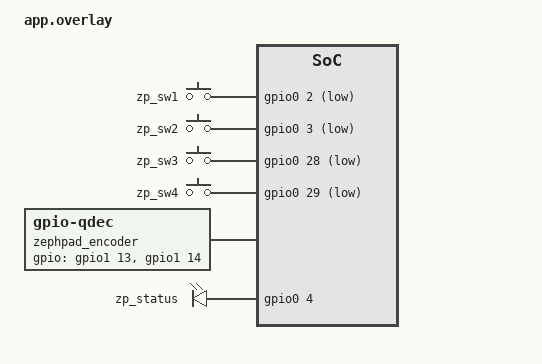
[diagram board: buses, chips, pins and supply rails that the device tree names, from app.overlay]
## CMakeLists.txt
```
cmake_minimum_required(VERSION 3.20.0)
find_package(Zephyr REQUIRED HINTS $ENV{ZEPHYR_BASE})
project(zephpad)
target_sources(app PRIVATE src/main.c src/ble_hid.c src/power_policy.c)
```

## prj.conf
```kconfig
CONFIG_GPIO=y
CONFIG_INPUT=y
CONFIG_INPUT_MODE_SYNCHRONOUS=y
CONFIG_INPUT_GPIO_KEYS=y
CONFIG_INPUT_GPIO_QDEC=y

CONFIG_BT=y
CONFIG_BT_PERIPHERAL=y
CONFIG_BT_SMP=y
CONFIG_BT_BONDABLE=y
CONFIG_BT_MAX_CONN=1
CONFIG_BT_MAX_PAIRED=1
CONFIG_BT_DEVICE_NAME="Zephpad BLE"
CONFIG_BT_DEVICE_APPEARANCE=961
CONFIG_BT_SETTINGS=y
CONFIG_SETTINGS=y
CONFIG_FLASH=y
CONFIG_FLASH_MAP=y
CONFIG_NVS=y
CONFIG_SETTINGS_NVS=y

CONFIG_MAIN_STACK_SIZE=2048
CONFIG_SYSTEM_WORKQUEUE_STACK_SIZE=2048
CONFIG_BUILD_OUTPUT_UF2=y
CONFIG_USE_DT_CODE_PARTITION=y

# This revision uses the external LED for status, not USB serial logging.
CONFIG_CONSOLE=n
CONFIG_UART_CONSOLE=n
CONFIG_SERIAL=n
CONFIG_LOG=n
CONFIG_PRINTK=n

# Device suspension is invoked only immediately before System OFF.
CONFIG_POWEROFF=y
CONFIG_PM_DEVICE=y
```

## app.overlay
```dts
#include <zephyr/dt-bindings/gpio/gpio.h>
#include <zephyr/dt-bindings/input/input-event-codes.h>

/ {
    zephpad_keys: zephpad_keys {
        compatible = "gpio-keys";
        debounce-interval-ms = <15>;
        zp_sw1: sw1 {
            gpios = <&gpio0 2 (GPIO_PULL_UP | GPIO_ACTIVE_LOW)>;
            zephyr,code = <INPUT_KEY_F1>;
        };
        zp_sw2: sw2 {
            gpios = <&gpio0 3 (GPIO_PULL_UP | GPIO_ACTIVE_LOW)>;
            zephyr,code = <INPUT_KEY_F2>;
        };
        zp_sw3: sw3 {
            gpios = <&gpio0 28 (GPIO_PULL_UP | GPIO_ACTIVE_LOW)>;
            zephyr,code = <INPUT_KEY_F3>;
        };
        zp_sw4: sw4 {
            gpios = <&gpio0 29 (GPIO_PULL_UP | GPIO_ACTIVE_LOW)>;
            zephyr,code = <INPUT_KEY_F4>;
        };
    };
    zephpad_encoder: zephpad_encoder {
        compatible = "gpio-qdec";
        gpios = <&gpio1 13 (GPIO_PULL_UP | GPIO_ACTIVE_HIGH)>,
                <&gpio1 14 (GPIO_PULL_UP | GPIO_ACTIVE_HIGH)>;
        /* EC12E24404A6: 24 detents / 24 pulses -> four AB edges per detent. */
        steps-per-period = <4>;
        zephyr,axis = <INPUT_REL_WHEEL>;
        sample-time-us = <1000>;
        idle-timeout-ms = <100>;
    };
    zephpad_leds {
        compatible = "gpio-leds";
        zp_status: status_led {
            gpios = <&gpio0 4 GPIO_ACTIVE_HIGH>;
        };
    };
};

/* SPI2 shares D8/D9 with the encoder. */
&spi2 { status = "disabled"; };
&uart0 { status = "disabled"; };
&i2c1 { status = "disabled"; };
&pwm0 { status = "disabled"; };
```

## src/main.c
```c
#include <zephyr/kernel.h>
#include <zephyr/drivers/gpio.h>
#include <zephyr/input/input.h>
#include <zephyr/bluetooth/bluetooth.h>
#include <zephyr/bluetooth/conn.h>
#include <zephyr/bluetooth/uuid.h>
#include <zephyr/settings/settings.h>
#include <zephyr/sys/atomic.h>
#include <zephyr/pm/device.h>
#include <zephyr/sys/poweroff.h>
#include <errno.h>
#include "app_config.h"
#include "power_policy.h"
#include "ble_hid.h"

/* ピン番号はapp.overlayに集約。配列の順番はSW1～SW4です。 */
static const struct gpio_dt_spec keys[] = {
    GPIO_DT_SPEC_GET(DT_NODELABEL(zp_sw1), gpios),
    GPIO_DT_SPEC_GET(DT_NODELABEL(zp_sw2), gpios),
    GPIO_DT_SPEC_GET(DT_NODELABEL(zp_sw3), gpios),
    GPIO_DT_SPEC_GET(DT_NODELABEL(zp_sw4), gpios),
};
static const struct gpio_dt_spec led = GPIO_DT_SPEC_GET(DT_NODELABEL(zp_status), gpios);
static atomic_t linked, encrypted, accepting, dictation_gate, overflow;
static atomic_t shutting_down, activity_generation;

static void mark_activity(void)
{
    /* コールバックは操作回数だけ更新。時刻の計算はmainだけで行います。 */
    atomic_inc(&activity_generation);
}
/* 入力コールバックからmainへ、操作を順番に渡すキューです。 */
K_MSGQ_DEFINE(events, sizeof(struct input_event), 32, 4);

static bool ready(void)
{
    /* BLE接続だけでなく、暗号化とPC側のHID通知登録も必要です。 */
    return atomic_get(&linked) && atomic_get(&encrypted) && ble_hid_subscribed();
}

/* mainだけから呼びます。通常のキー操作では点灯時間を延長しません。
 * readyがfalseに戻ると待機点滅へ移り、再接続時は再び3秒点灯します。 */
static void update_status_led(bool can_send, int64_t now_ms)
{
    static bool was_ready;
    static int64_t ready_since_ms;
    bool on;

    if (can_send) {
        if (!was_ready) {
            ready_since_ms = now_ms;
        }
        on = now_ms - ready_since_ms < ZEPHPAD_CONNECTED_LED_MS;
    } else {
        on = (now_ms / ZEPHPAD_WAIT_LED_HALF_PERIOD_MS) % 2 == 0;
    }
    was_ready = can_send;
    gpio_pin_set_dt(&led, on);
}

static void input_cb(struct input_event *evt, void *user_data)
{
    ARG_UNUSED(user_data);
    if (evt->type == INPUT_EV_KEY || evt->type == INPUT_EV_REL) {
        mark_activity();
    }
    if (!atomic_get(&accepting)) { return; }
    bool voice = evt->type == INPUT_EV_KEY && evt->code == INPUT_KEY_F3;
    if (voice) {
        atomic_set(&dictation_gate, !!evt->value);
    } else if (atomic_get(&dictation_gate)) {
        return; /* Discard; never replay other input after dictation. */
    }
    if (k_msgq_put(&events, evt, K_NO_WAIT)) { atomic_set(&overflow, 1); }
}
INPUT_CALLBACK_DEFINE(NULL, input_cb, NULL);

static const struct bt_data ad[] = {
    BT_DATA_BYTES(BT_DATA_FLAGS, BT_LE_AD_GENERAL | BT_LE_AD_NO_BREDR),
    BT_DATA_BYTES(BT_DATA_UUID16_ALL, BT_UUID_16_ENCODE(BT_UUID_HIDS_VAL)),
    BT_DATA_BYTES(BT_DATA_GAP_APPEARANCE, 0xc1, 0x03),
};
static const struct bt_data sd[] = {
    BT_DATA(BT_DATA_NAME_COMPLETE, CONFIG_BT_DEVICE_NAME, sizeof(CONFIG_BT_DEVICE_NAME)-1),
};
static void advertise(struct k_work *work);
K_WORK_DELAYABLE_DEFINE(adv_work, advertise);
static void advertise(struct k_work *work)
{
    ARG_UNUSED(work);
    if (atomic_get(&linked) || atomic_get(&shutting_down)) { return; }
    int err = bt_le_adv_start(BT_LE_ADV_CONN_FAST_1, ad, ARRAY_SIZE(ad), sd, ARRAY_SIZE(sd));
    if (err && err != -EALREADY && !atomic_get(&shutting_down)) {
        k_work_reschedule(&adv_work, K_MSEC(500));
    }
}
static void connected(struct bt_conn *conn, uint8_t err)
{
    if (err) {
        if (!atomic_get(&shutting_down)) { k_work_reschedule(&adv_work, K_MSEC(500)); }
        return;
    }
    mark_activity();
    atomic_set(&linked, 1);
    atomic_clear(&encrypted);
    if (atomic_get(&shutting_down)) { bt_conn_disconnect(conn, 0x13); return; }
    int ret = bt_conn_set_security(conn, BT_SECURITY_L2);
    if (ret) { bt_conn_disconnect(conn, 0x13); }
}
static void disconnected(struct bt_conn *conn, uint8_t reason)
{
    ARG_UNUSED(conn); ARG_UNUSED(reason);
    atomic_clear(&accepting);
    atomic_clear(&linked);
    atomic_clear(&encrypted);
    ble_hid_disconnected();
    mark_activity();
    if (!atomic_get(&shutting_down)) { k_work_reschedule(&adv_work, K_MSEC(300)); }
}
static void security_changed(struct bt_conn *conn, bt_security_t level,
                             enum bt_security_err err)
{
    atomic_set(&encrypted, !err && level >= BT_SECURITY_L2);
    mark_activity();
    if (err) { bt_conn_disconnect(conn, 0x13); }
}
BT_CONN_CB_DEFINE(conn_callbacks) = {
    .connected = connected,
    .disconnected = disconnected,
    .security_changed = security_changed,
};

static void fatal(void)
{
    for (;;) {
        gpio_pin_toggle_dt(&led);
        k_sleep(K_MSEC(80));
    }
}
static bool all_released(void)
{
    for (size_t i=0; i<ARRAY_SIZE(keys); i++) {
        if (gpio_pin_get_dt(&keys[i]) != 0) { return false; }
    }
    return true;
}
static int send_retry(uint8_t mod, uint8_t key)
{
    for (int i=0; i<20 && ready(); i++) {
        int err = ble_hid_send(mod, key);
        if (!err) { return 0; }
        k_sleep(K_MSEC(10));
    }
    return -EIO;
}
static int tap(uint8_t mod, uint8_t key)
{
    int err = send_retry(mod, key);
    if (!err) { k_sleep(K_MSEC(ZEPHPAD_TAP_MS)); }
    int release_err = send_retry(0, 0);
    k_sleep(K_MSEC(ZEPHPAD_TAP_MS));
    return err ? err : release_err;
}
static void input_reset(void)
{
    atomic_clear(&accepting);
    k_msgq_purge(&events);
    atomic_clear(&dictation_gate);
    atomic_clear(&overflow);
}
/* Errors during shutdown remain awake and blink N times, then pause.
 * A failed shutdown must not be mistaken for successful System OFF. */
static void power_error(unsigned int count)
{
    for (;;) {
        for (unsigned int i = 0; i < count; i++) {
            gpio_pin_set_dt(&led, 1); k_sleep(K_MSEC(150));
            gpio_pin_set_dt(&led, 0); k_sleep(K_MSEC(150));
        }
        k_sleep(K_MSEC(1200));
    }
}

static void disconnect_one(struct bt_conn *conn, void *data)
{
    ARG_UNUSED(data);
    bt_conn_disconnect(conn, 0x13); /* Remote User Terminated Connection */
}

static bool suspend_ok(const struct device *dev)
{
    int err = pm_device_action_run(dev, PM_DEVICE_ACTION_SUSPEND);
    return err == 0 || err == -EALREADY;
}

/* Returns only when shutdown was cancelled; leave queued input intact. */
static void enter_system_off(const struct zp_power_sample *sample)
{
    if (!all_released()) { return; }
    k_sleep(K_MSEC(50));
    if (!all_released() || k_msgq_num_used_get(&events) != 0 ||
        sample->generation != (uint32_t)atomic_get(&activity_generation) ||
        sample->linked != (atomic_get(&linked) != 0) ||
        sample->ready != ready()) {
        return;
    }
    atomic_set(&shutting_down, 1);
    input_reset();

    if (ready()) {
        (void)send_retry(0, 0);
        k_sleep(K_MSEC(40));
    }
    struct k_work_sync sync;
    k_work_cancel_delayable_sync(&adv_work, &sync);
    (void)bt_le_adv_stop();
    bt_conn_foreach(BT_CONN_TYPE_LE, disconnect_one, NULL);
    int64_t deadline = k_uptime_get() + 1500;
    while (atomic_get(&linked) && k_uptime_get() < deadline) {
        k_sleep(K_MSEC(10));
    }
    if (atomic_get(&linked)) { power_error(1); }

    /* Stop radio/host without erasing persistent bonds. */
    int err = bt_disable();
    if (err && err != -EALREADY) { power_error(2); }
    if (!suspend_ok(DEVICE_DT_GET(DT_NODELABEL(zephpad_encoder)))) { power_error(3); }
    if (!suspend_ok(DEVICE_DT_GET(DT_NODELABEL(zephpad_keys)))) { power_error(4); }

    /* QDEC suspend may preserve DT pullups. Remove them explicitly: a
     * stationary encoder contact must not draw current through a pullup. */
    const struct gpio_dt_spec encoder_pins[] = {
        GPIO_DT_SPEC_GET_BY_IDX(DT_NODELABEL(zephpad_encoder), gpios, 0),
        GPIO_DT_SPEC_GET_BY_IDX(DT_NODELABEL(zephpad_encoder), gpios, 1),
    };
    for (size_t i = 0; i < ARRAY_SIZE(encoder_pins); i++) {
        const struct gpio_dt_spec *p = &encoder_pins[i];
        if (gpio_pin_interrupt_configure_dt(p, GPIO_INT_DISABLE) ||
            gpio_pin_configure(p->port, p->pin, GPIO_DISCONNECTED)) { power_error(5); }
    }
    for (size_t i = 0; i < ARRAY_SIZE(keys); i++) {
        if (gpio_pin_interrupt_configure_dt(&keys[i], GPIO_INT_DISABLE) ||
            gpio_pin_configure(keys[i].port, keys[i].pin, GPIO_DISCONNECTED)) {
            power_error(5);
        }
    }

    /* XIAO's external QSPI flash has a deep-power-down-capable driver.
     * The standard board stores BLE settings in INTERNAL storage_partition. */
#if DT_NODE_HAS_STATUS(DT_NODELABEL(p25q16h), okay) && defined(CONFIG_NORDIC_QSPI_NOR)
    const struct device *ext_flash = DEVICE_DT_GET(DT_NODELABEL(p25q16h));
    if (!device_is_ready(ext_flash) || !suspend_ok(ext_flash)) { power_error(6); }
#endif

    gpio_pin_set_dt(&led, 0);
    /* Only SW4 (D3/P0.29, active low with pullup) is armed as GPIO wake. */
    if (gpio_pin_configure_dt(&keys[3], GPIO_INPUT) ||
        gpio_pin_interrupt_configure_dt(&keys[3], GPIO_INT_LEVEL_ACTIVE)) {
        power_error(7);
    }
    /* A new SW4 press here can cause immediate reset/wake, which is correct. */
    sys_poweroff();
}

static int handle_event(const struct input_event *e)
{
    /* HID modifiers: left Ctrl=1, Shift=2, Alt=4; Meh=7. */
    if (e->type == INPUT_EV_KEY) {
        if (e->code == INPUT_KEY_F3) {
            return e->value ? send_retry(0x07, 0x07) : send_retry(0, 0);
        }
        if (!e->value) { return 0; }
        switch (e->code) {
        case INPUT_KEY_F1: return tap(0, 0x29);    /* Esc */
        case INPUT_KEY_F2: return tap(1, 0x11);    /* Ctrl+N */
        case INPUT_KEY_F4: return tap(0, 0x28);    /* Enter */
        default: break;
        }
    } else if (e->type == INPUT_EV_REL && e->code == INPUT_REL_WHEEL) {
        int count = CLAMP(e->value * ZEPHPAD_ENCODER_SIGN, -16, 16);
        uint8_t key = count > 0 ? 0x52 : 0x51; /* up / down */
        if (count < 0) { count = -count; }
        for (int i=0; i<count; i++) {
            if (atomic_get(&dictation_gate)) { break; }
            int err = tap(7, key);
            if (err) { return err; }
        }
    }
    return 0;
}

int main(void)
{
    if (!gpio_is_ready_dt(&led)) { return 0; }
    if (gpio_pin_configure_dt(&led, GPIO_OUTPUT_INACTIVE)) { return 0; }
    if (!device_is_ready(DEVICE_DT_GET(DT_NODELABEL(zephpad_keys))) ||
        !device_is_ready(DEVICE_DT_GET(DT_NODELABEL(zephpad_encoder)))) { fatal(); }

    /* Explicit local recovery: SW1+SW2 held through reset for 2 seconds. */
    bool erase_bonds = gpio_pin_get_dt(&keys[0]) == 1 && gpio_pin_get_dt(&keys[1]) == 1;
    if (erase_bonds) {
        for (int i=0; i<100; i++) {
            if (gpio_pin_get_dt(&keys[0]) != 1 || gpio_pin_get_dt(&keys[1]) != 1) {
                erase_bonds = false; break;
            }
            gpio_pin_toggle_dt(&led);
            k_sleep(K_MSEC(20));
        }
    }
    if (bt_enable(NULL)) { fatal(); }
    if (settings_load()) { fatal(); }
    if (erase_bonds && bt_unpair(BT_ID_DEFAULT, BT_ADDR_LE_ANY)) { fatal(); }
    k_work_reschedule(&adv_work, K_NO_WAIT);

    struct zp_power_policy power = {0};
    bool armed = false;
    int64_t released_since = 0;
    for (;;) {
        bool can_send = ready();
        update_status_led(can_send, k_uptime_get());
        if (!can_send || atomic_get(&overflow)) {
            input_reset();
            armed = false;
            released_since = 0;
        }
        if (!armed && can_send) {
            /* Startup/reconnect: all keys must be released for 50 ms. */
            if (!all_released()) {
                released_since = 0;
            } else if (!released_since) {
                released_since = k_uptime_get();
            } else if (k_uptime_get() - released_since >= 50 && !send_retry(0,0)) {
                input_reset();
                armed = true;
                atomic_set(&accepting, 1);
            }
        }
        struct input_event evt;
        if (!k_msgq_get(&events, &evt, K_MSEC(20)) && armed && ready()) {
            if (handle_event(&evt)) {
                input_reset();
                armed = false;
                released_since = 0;
            }
        }

        /* Only main owns the clock and deadline. Callback activity is a
         * generation counter, so an asynchronous update cannot underflow
         * an unsigned elapsed-time subtraction and request immediate OFF. */
        struct zp_power_sample sample = {
            .generation = (uint32_t)atomic_get(&activity_generation),
            .linked = atomic_get(&linked) != 0,
            .ready = ready(),
            .busy = !all_released() || k_msgq_num_used_get(&events) != 0 ||
                    (can_send && !armed) || atomic_get(&overflow),
            .now_ms = k_uptime_get(),
        };
        if (zp_power_due(&power, &sample, ZEPHPAD_AUTO_OFF,
                         ZEPHPAD_IDLE_OFF_MS, ZEPHPAD_OFFLINE_OFF_MS)) {
            enter_system_off(&sample);
            /* New activity cancelled OFF; retain the event and start over. */
            zp_power_postpone(&power, k_uptime_get());
        }
    }
}
```

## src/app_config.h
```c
#pragma once

/* 時計回りでエフォートが下がる場合は -1 に変更します。 */
#define ZEPHPAD_ENCODER_SIGN (+1)

/* 単発ショートカットの押下・解放間隔。実機確認済みの値です。 */
#define ZEPHPAD_TAP_MS 20

/* 接続中と未接続時の待ち時間は、同じ5分でも独立して設定します。
 * LL は64ビット整数。Zephyrの起動後時刻（ミリ秒）と合わせます。
 * キー保持中と、BLE接続済みで暗号化/HID通知準備中はOFFしません。 */
#define ZEPHPAD_IDLE_OFF_MS    (5LL * 60 * 1000)
#define ZEPHPAD_OFFLINE_OFF_MS (5LL * 60 * 1000)

/* 通常は1。自動OFFの切り分け試験だけ0に変更できます。 */
#define ZEPHPAD_AUTO_OFF 1

/* 入力準備完了後3秒点灯。待機中は500ms点灯＋500ms消灯＝1Hz。 */
#define ZEPHPAD_CONNECTED_LED_MS 3000LL
#define ZEPHPAD_WAIT_LED_HALF_PERIOD_MS 500LL
```

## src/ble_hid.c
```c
/* Report-mode BLE keyboard. No Boot Protocol or Consumer Control. */
#include <zephyr/kernel.h>
#include <zephyr/bluetooth/gatt.h>
#include <zephyr/bluetooth/uuid.h>
#include <zephyr/sys/atomic.h>
#include <errno.h>
#include <string.h>
#include "ble_hid.h"

static atomic_t subscribed;
static uint8_t current_report[8];
static uint8_t keyboard_leds;
static uint8_t control_point;
static const uint8_t info[] = {0x11, 0x01, 0x00, 0x02};
static const uint8_t input_ref[] = {1, 1};
static const uint8_t output_ref[] = {1, 2};
static const uint8_t report_map[] = {
    0x05,0x01, 0x09,0x06, 0xa1,0x01, 0x85,0x01,
    0x05,0x07, 0x19,0xe0, 0x29,0xe7, 0x15,0x00, 0x25,0x01,
    0x75,0x01, 0x95,0x08, 0x81,0x02,
    0x75,0x08, 0x95,0x01, 0x81,0x01,
    0x05,0x08, 0x19,0x01, 0x29,0x05, 0x75,0x01, 0x95,0x05,
    0x91,0x02, 0x75,0x03, 0x95,0x01, 0x91,0x01,
    0x05,0x07, 0x19,0x00, 0x29,0x65, 0x15,0x00, 0x25,0x65,
    0x75,0x08, 0x95,0x06, 0x81,0x00, 0xc0
};

#define READ_FN(name, data) \
static ssize_t name(struct bt_conn *c, const struct bt_gatt_attr *a, \
                    void *b, uint16_t n, uint16_t o) \
{ return bt_gatt_attr_read(c, a, b, n, o, data, sizeof(data)); }
READ_FN(read_info, info)
READ_FN(read_map, report_map)
READ_FN(read_input_ref, input_ref)
READ_FN(read_output_ref, output_ref)
READ_FN(read_input, current_report)

static ssize_t read_output(struct bt_conn *c, const struct bt_gatt_attr *a,
                           void *b, uint16_t n, uint16_t o)
{
    return bt_gatt_attr_read(c, a, b, n, o, &keyboard_leds, 1);
}
static ssize_t write_byte(struct bt_conn *c, const struct bt_gatt_attr *a,
                          const void *b, uint16_t n, uint16_t o, uint8_t f)
{
    ARG_UNUSED(c); ARG_UNUSED(f);
    if (o != 0) { return BT_GATT_ERR(BT_ATT_ERR_INVALID_OFFSET); }
    if (n != 1) { return BT_GATT_ERR(BT_ATT_ERR_INVALID_ATTRIBUTE_LEN); }
    *(uint8_t *)a->user_data = *(const uint8_t *)b;
    return n;
}
static void ccc_changed(const struct bt_gatt_attr *a, uint16_t value)
{
    ARG_UNUSED(a);
    atomic_set(&subscribed, value == BT_GATT_CCC_NOTIFY);
}

BT_GATT_SERVICE_DEFINE(keyboard_svc,
    BT_GATT_PRIMARY_SERVICE(BT_UUID_HIDS),                         /* 0 */
    BT_GATT_CHARACTERISTIC(BT_UUID_HIDS_INFO, BT_GATT_CHRC_READ,
        BT_GATT_PERM_READ, read_info, NULL, NULL),                 /* 1,2 */
    BT_GATT_CHARACTERISTIC(BT_UUID_HIDS_REPORT_MAP, BT_GATT_CHRC_READ,
        BT_GATT_PERM_READ_ENCRYPT, read_map, NULL, NULL),           /* 3,4 */
    BT_GATT_CHARACTERISTIC(BT_UUID_HIDS_REPORT,
        BT_GATT_CHRC_READ | BT_GATT_CHRC_NOTIFY,
        BT_GATT_PERM_READ_ENCRYPT, read_input, NULL, NULL),         /* 5,6 */
    BT_GATT_CCC(ccc_changed,
        BT_GATT_PERM_READ_ENCRYPT | BT_GATT_PERM_WRITE_ENCRYPT),    /* 7 */
    BT_GATT_DESCRIPTOR(BT_UUID_HIDS_REPORT_REF,
        BT_GATT_PERM_READ_ENCRYPT, read_input_ref, NULL, NULL),     /* 8 */
    BT_GATT_CHARACTERISTIC(BT_UUID_HIDS_REPORT,
        BT_GATT_CHRC_READ | BT_GATT_CHRC_WRITE | BT_GATT_CHRC_WRITE_WITHOUT_RESP,
        BT_GATT_PERM_READ_ENCRYPT | BT_GATT_PERM_WRITE_ENCRYPT,
        read_output, write_byte, &keyboard_leds),                  /* 9,10 */
    BT_GATT_DESCRIPTOR(BT_UUID_HIDS_REPORT_REF,
        BT_GATT_PERM_READ_ENCRYPT, read_output_ref, NULL, NULL),    /* 11 */
    BT_GATT_CHARACTERISTIC(BT_UUID_HIDS_CTRL_POINT,
        BT_GATT_CHRC_WRITE_WITHOUT_RESP, BT_GATT_PERM_WRITE_ENCRYPT,
        NULL, write_byte, &control_point)                         /* 12,13 */
);

bool ble_hid_subscribed(void) { return atomic_get(&subscribed) != 0; }
void ble_hid_disconnected(void) { atomic_clear(&subscribed); }
int ble_hid_send(uint8_t modifiers, uint8_t key)
{
    uint8_t report[8] = {modifiers, 0, key, 0, 0, 0, 0, 0};
    if (!ble_hid_subscribed()) { return -ENOTCONN; }
    int err = bt_gatt_notify(NULL, &keyboard_svc.attrs[6], report, sizeof(report));
    if (!err) { memcpy(current_report, report, sizeof(report)); }
    return err;
}
```

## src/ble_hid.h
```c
#pragma once
#include <stdbool.h>
#include <stdint.h>

bool ble_hid_subscribed(void);
void ble_hid_disconnected(void);
int ble_hid_send(uint8_t modifiers, uint8_t key);
```

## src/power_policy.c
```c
#include "power_policy.h"

void zp_power_postpone(struct zp_power_policy *state, int64_t now_ms)
{
    state->last_activity_ms = now_ms;
}

bool zp_power_due(struct zp_power_policy *s, const struct zp_power_sample *p,
                  bool enabled, int64_t idle_ms, int64_t offline_ms)
{
    /* 操作や接続状態の変化があれば、無操作時間を最初から数えます。 */
    bool changed = !s->initialized || s->generation != p->generation ||
                   s->linked != p->linked || s->ready != p->ready;
    s->initialized = true;
    s->generation = p->generation;
    s->linked = p->linked;
    s->ready = p->ready;

    /* 接続済みで暗号化・HID通知の準備中はOFFしません。
     * 入力準備が完了した時点から、接続中の無操作時間を数えます。
     * 時刻の逆転や一時的に矛盾する状態も、即OFFと誤判定しません。 */
    if (!enabled || changed || p->busy || (p->linked && !p->ready) ||
        p->now_ms < s->last_activity_ms || (p->ready && !p->linked)) {
        zp_power_postpone(s, p->now_ms);
        return false;
    }
    /* 接続中と未接続時の設定は独立。判定ロジックだけ共通です。 */
    int64_t timeout = p->ready ? idle_ms : offline_ms;
    return timeout > 0 && p->now_ms - s->last_activity_ms >= timeout;
}
```

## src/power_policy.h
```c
#pragma once
#include <stdbool.h>
#include <stdint.h>

/* mainだけが保持・更新する無操作タイマーの状態です。
 * generationは操作などが発生するたびに増える番号で、時刻ではありません。 */
struct zp_power_policy {
    int64_t last_activity_ms;
    uint32_t generation;
    bool initialized;
    bool linked;
    bool ready;
};

struct zp_power_sample {
    int64_t now_ms;
    uint32_t generation;
    bool linked;
    bool ready;
    bool busy; /* キー保持中、未処理の操作あり、または入力再開待ち */
};

bool zp_power_due(struct zp_power_policy *state,
                  const struct zp_power_sample *sample,
                  bool enabled, int64_t idle_ms, int64_t offline_ms);
void zp_power_postpone(struct zp_power_policy *state, int64_t now_ms);
```
